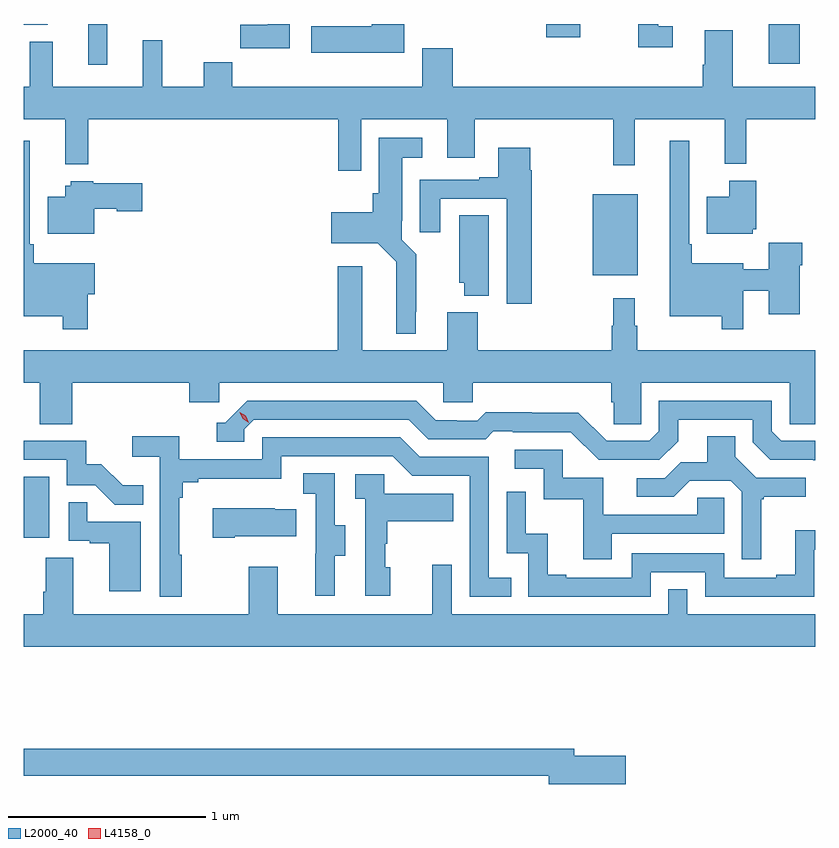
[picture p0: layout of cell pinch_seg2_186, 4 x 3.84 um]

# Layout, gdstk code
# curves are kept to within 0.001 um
import gdstk
lib = gdstk.Library(unit=1e-6, precision=1e-09)
def R(c, l, rs):  # rectangles x0, y0, x1, y1
    for r in rs: c.add(gdstk.rectangle(r[:2], r[2:], *l))
def P(c, l, *ps):  # polygons
    for p in ps: c.add(gdstk.Polygon(p, *l))
L2000_40 = (2000, 40)
L4158_0 = (4158, 0)

pinch_seg2_186 = lib.new_cell('pinch_seg2_186')
R(pinch_seg2_186, L2000_40, [(952.123,654.846,952.252,655.153), (954.998,656.171,955.225,656.581), (952.449,657.234,952.546,657.441), (955.886,657.24,956.044,657.441), (954.764,657.375,954.934,657.441), (952.123,657.437,952.246,657.441)])
P(pinch_seg2_186, L2000_40, [(953.467,657.441),(953.357,657.441),(953.357,657.436),(953.218,657.436),(953.218,657.318),(953.467,657.318)],
  [(954.046,657.441),(953.881,657.441),(953.881,657.43),(953.577,657.43),(953.577,657.296),(954.046,657.296)],
  [(955.402,657.429),(955.329,657.429),(955.329,657.441),(955.228,657.441),(955.228,657.324),(955.402,657.324)],
  [(953.829,656.96),(954.263,656.96),(954.263,656.766),(954.403,656.766),(954.403,656.96),(955.101,656.96),(955.101,656.727),(955.211,656.727),(955.211,656.96),(955.664,656.96),(955.664,656.735),(955.774,656.735),(955.774,656.96),(956.123,656.96),(956.123,657.124),(955.705,657.124),(955.705,657.41),(955.565,657.41),(955.565,657.236),(955.553,657.236),(955.553,657.124),(954.29,657.124),(954.29,657.319),(954.137,657.319),(954.137,657.124),(953.177,657.124),(953.177,657.248),(953.033,657.248),(953.033,657.124),(952.823,657.124),(952.823,657.358),(952.724,657.358),(952.724,657.124),(952.271,657.124),(952.271,657.352),(952.153,657.352),(952.153,657.124),(952.123,657.124),(952.123,656.96),(952.334,656.96),(952.334,656.732),(952.451,656.732),(952.451,656.96),(953.713,656.96),(953.713,656.7),(953.829,656.7)],
  [(954.103,655.987),(954.107,655.987),(954.107,656.278),(954.033,656.352),(954.033,656.446),(954.037,656.446),(954.037,656.765),(954.136,656.765),(954.136,656.866),(953.918,656.866),(953.918,656.586),(953.888,656.586),(953.888,656.491),(953.676,656.491),(953.676,656.333),(953.913,656.333),(954.006,656.24),(954.005,655.877),(954.103,655.877)],
  [(952.448,656.075),(952.483,656.075),(952.483,656.233),(952.175,656.233),(952.175,656.329),(952.155,656.329),(952.155,656.851),(952.123,656.851),(952.123,655.964),(952.32,655.964),(952.32,655.899),(952.448,655.899)],
  [(955.758,656.094),(955.886,656.094),(955.886,655.974),(956.044,655.974),(956.044,656.222),(956.057,656.222),(956.057,656.335),(955.886,656.335),(955.886,656.203),(955.759,656.203),(955.759,656.233),(955.498,656.233),(955.498,656.329),(955.485,656.329),(955.485,656.851),(955.388,656.851),(955.388,655.964),(955.65,655.964),(955.65,655.899),(955.758,655.899)],
  [(954.69,656.702),(954.682,656.702),(954.682,656.815),(954.521,656.815),(954.521,656.668),(954.425,656.668),(954.425,656.655),(954.125,656.655),(954.125,656.388),(954.229,656.388),(954.229,656.559),(954.563,656.559),(954.563,656.028),(954.69,656.028)],
  [(955.806,656.403),(955.823,656.403),(955.823,656.65),(955.688,656.65),(955.688,656.569),(955.574,656.569),(955.574,656.381),(955.806,656.381)],
  [(952.48,656.507),(952.593,656.507),(952.593,656.495),(952.723,656.495),(952.723,656.637),(952.476,656.637),(952.476,656.647),(952.362,656.647),(952.362,656.625),(952.334,656.625),(952.334,656.569),(952.244,656.569),(952.244,656.381),(952.48,656.381)],
  [(954.472,656.474),(954.323,656.474),(954.323,656.133),(954.35,656.133),(954.35,656.069),(954.472,656.069)],
  [(952.37,655.628),(952.961,655.628),(952.961,655.53),(953.112,655.53),(953.112,655.628),(954.243,655.628),(954.243,655.53),(954.393,655.53),(954.393,655.628),(955.091,655.628),(955.091,655.53),(955.105,655.53),(955.105,655.42),(955.242,655.42),(955.242,655.628),(955.992,655.628),(955.992,655.42),(956.123,655.42),(956.123,655.792),(955.222,655.792),(955.222,655.916),(955.21,655.916),(955.21,656.056),(955.101,656.056),(955.101,655.916),(955.093,655.916),(955.093,655.792),(954.416,655.792),(954.416,655.984),(954.263,655.984),(954.263,655.792),(953.833,655.792),(953.833,656.218),(953.711,656.218),(953.711,655.792),(952.123,655.792),(952.123,655.628),(952.205,655.628),(952.205,655.42),(952.37,655.42)],
  [(956.123,655.335),(955.95,655.335),(955.902,655.383),(955.902,655.539),(955.332,655.539),(955.332,655.383),(955.284,655.335),(955.068,655.335),(954.926,655.477),(954.69,655.477),(954.69,655.48),(954.457,655.48),(954.415,655.437),(954.312,655.437),(954.312,655.44),(954.205,655.44),(954.106,655.539),(953.253,655.539),(953.142,655.428),(953.099,655.428),(953.099,655.332),(953.238,655.332),(953.238,655.395),(953.286,655.443),(954.069,655.443),(954.168,655.344),(954.457,655.344),(954.496,655.383),(954.595,655.383),(954.595,655.38),(954.888,655.38),(955.029,655.239),(955.335,655.239),(955.429,655.333),(955.429,655.443),(955.806,655.443),(955.806,655.329),(955.896,655.239),(956.123,655.238)],
  [(955.849,655.041),(955.861,655.041),(955.861,655.052),(956.074,655.052),(956.074,655.149),(955.824,655.149),(955.717,655.256),(955.717,655.358),(955.577,655.358),(955.577,655.226),(955.442,655.226),(955.362,655.146),(955.221,655.146),(955.221,655.053),(955.408,655.053),(955.489,655.134),(955.695,655.134),(955.752,655.077),(955.752,654.738),(955.849,654.738)],
  [(952.921,654.761),(952.909,654.761),(952.909,655.049),(952.928,655.049),(952.928,655.126),(953.005,655.126),(953.005,655.145),(953.424,655.145),(953.424,655.257),(953.988,655.257),(954.087,655.158),(954.378,655.158),(954.378,654.549),(954.587,654.549),(954.587,654.645),(954.474,654.645),(954.474,655.254),(954.124,655.254),(954.025,655.353),(953.328,655.353),(953.328,655.242),(952.91,655.242),(952.91,655.358),(952.671,655.358),(952.671,655.256),(952.812,655.256),(952.812,654.549),(952.921,654.549)],
  [(952.727,655.111),(952.623,655.111),(952.516,655.218),(952.44,655.218),(952.44,655.335),(952.123,655.335),(952.123,655.239),(952.341,655.239),(952.341,655.11),(952.485,655.11),(952.583,655.012),(952.727,655.012)],
  [(955.093,654.867),(955.662,654.867),(955.662,655.047),(955.525,655.047),(955.525,654.963),(955.051,654.963),(955.051,655.149),(954.846,655.149),(954.846,655.29),(954.603,655.29),(954.603,655.194),(954.75,655.194),(954.75,655.041),(954.949,655.041),(954.949,654.738),(955.093,654.738)],
  [(953.695,654.754),(953.749,654.754),(953.749,654.909),(953.694,654.909),(953.694,655.172),(953.535,655.172),(953.535,655.069),(953.598,655.069),(953.598,654.765),(953.597,654.765),(953.597,654.552),(953.695,654.552)],
  [(953.974,654.696),(953.949,654.696),(953.949,654.815),(953.959,654.815),(953.959,654.929),(954.293,654.929),(954.293,655.069),(953.946,655.069),(953.946,655.167),(953.799,655.167),(953.799,655.043),(953.85,655.043),(953.85,654.552),(953.974,654.552)],
  [(955.29,654.672),(955.566,654.672),(955.566,654.549),(956.118,654.549),(956.118,654.785),(956.123,654.785),(956.123,654.883),(956.021,654.883),(956.021,654.658),(955.925,654.658),(955.925,654.645),(955.662,654.645),(955.662,654.768),(955.194,654.768),(955.194,654.645),(954.865,654.645),(954.865,654.658),(954.77,654.658),(954.77,654.866),(954.66,654.866),(954.66,655.078),(954.564,655.078),(954.564,654.768),(954.672,654.768),(954.672,654.549),(955.29,654.549)],
  [(952.714,654.927),(952.445,654.927),(952.445,655.025),(952.35,655.025),(952.35,654.831),(952.457,654.831),(952.457,654.819),(952.556,654.819),(952.556,654.576),(952.714,654.576)],
  [(953.191,654.854),(953.501,654.854),(953.501,654.991),(953.393,654.991),(953.393,654.994),(953.079,654.994),(953.079,654.847),(953.191,654.847)],
  [(956.123,654.46),(955.476,654.46),(955.476,654.587),(955.38,654.587),(955.38,654.46),(954.285,654.46),(954.285,654.709),(954.188,654.709),(954.188,654.46),(953.407,654.46),(953.407,654.7),(953.26,654.7),(953.26,654.46),(952.375,654.46),(952.375,654.746),(952.235,654.746),(952.235,654.572),(952.223,654.572),(952.223,654.46),(952.123,654.46),(952.123,654.296),(956.123,654.296)],
  [(955.165,653.744),(954.904,653.744),(954.904,653.78),(952.123,653.78),(952.123,653.644),(954.776,653.644),(954.776,653.602),(955.165,653.602)])
P(pinch_seg2_186, L4158_0, [(953.261,655.428),(953.23,655.448),(953.214,655.48),(953.214,655.481),(953.214,655.481),(953.245,655.461),(953.261,655.428),(953.261,655.428)])

lib.write_gds('pinch_seg2_186.gds')
